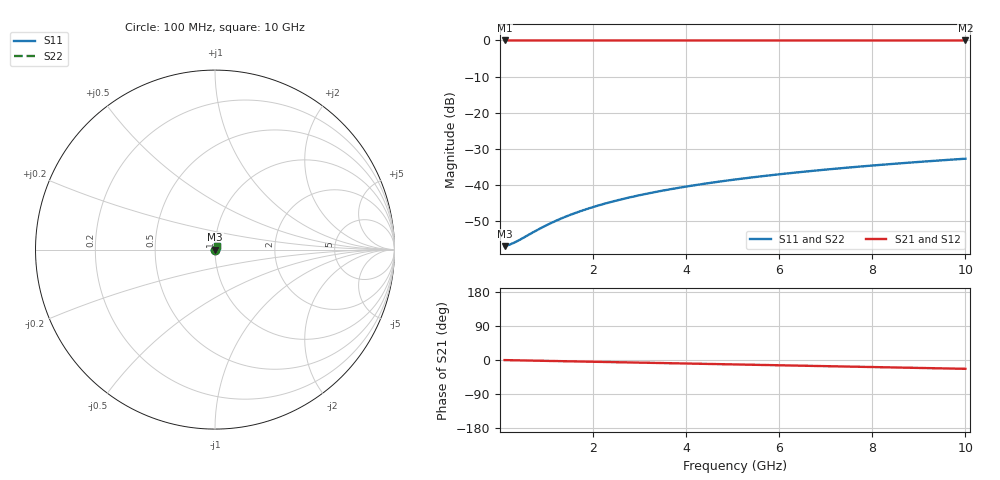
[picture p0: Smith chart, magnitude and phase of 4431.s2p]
# Hz S RI R 50.00
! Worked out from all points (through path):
!   100 points, 100 MHz to 10 GHz, reference 50 ohm
!   highest |S21| = -0.01 dB at 100 MHz (marker M1); lowest = 0.0 dB at 10 GHz (marker M2)
!   group delay of S21, straight-line fit = 6.46 ps
!   lowest |S11| = -57.0 dB at 100 MHz (marker M3), VSWR 1.00, Z = 50.1 + j0.0231 ohm
!   |S11| at or under -10 dB: start of sweep to end of sweep
!   |S22| runs from -57.0 to -32.8 dB; largest |S21 - S12| = 0
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1e8  0.00139 0.000231  0.9986 -0.00402  0.9986 -0.00402  0.00139 0.000231
2e8  0.0014 0.000461  0.9986 -0.00805  0.9986 -0.00805  0.0014 0.000461
3e8  0.00141 0.000692  0.9985 -0.0121  0.9985 -0.0121  0.00141 0.000692
4e8  0.00142 0.000922  0.9984 -0.0161  0.9984 -0.0161  0.00142 0.000922
7e8  0.00146 0.00161  0.9982 -0.0282  0.9982 -0.0282  0.00146 0.00161
9e8  0.0015 0.00207  0.9979 -0.0362  0.9979 -0.0362  0.0015 0.00207
1.2e9  0.00156 0.00276  0.9974 -0.0483  0.9974 -0.0483  0.00156 0.00276
1.5e9  0.00164 0.00344  0.9967 -0.0603  0.9967 -0.0603  0.00164 0.00344
1.8e9  0.00173 0.00412  0.9959 -0.0724  0.9959 -0.0724  0.00173 0.00412
2.1e9  0.00184 0.0048  0.9949 -0.0845  0.9949 -0.0845  0.00184 0.0048
2.5e9  0.00201 0.0057  0.9934 -0.1005  0.9934 -0.1005  0.00201 0.0057
2.9e9  0.00221 0.00659  0.9916 -0.1166  0.9916 -0.1166  0.00221 0.00659
3.4e9  0.0025 0.00769  0.989 -0.1366  0.989 -0.1366  0.0025 0.00769
3.8e9  0.00277 0.00856  0.9867 -0.1526  0.9867 -0.1526  0.00277 0.00856
4.2e9  0.00306 0.00942  0.984 -0.1685  0.984 -0.1685  0.00306 0.00942
4.6e9  0.00338 0.0103  0.9812 -0.1845  0.9812 -0.1845  0.00338 0.0103
5.1e9  0.00382 0.0113  0.9772 -0.2043  0.9772 -0.2043  0.00382 0.0113
5.9e9  0.00461 0.013  0.97 -0.236  0.97 -0.236  0.00461 0.013
6.7e9  0.00551 0.0146  0.9617 -0.2674  0.9617 -0.2674  0.00551 0.0146
7.5e9  0.00652 0.0161  0.9524 -0.2986  0.9524 -0.2986  0.00652 0.0161
8.4e9  0.00778 0.0178  0.9407 -0.3334  0.9407 -0.3334  0.00778 0.0178
1e10  0.0103 0.0205  0.9167 -0.3943  0.9167 -0.3943  0.0103 0.0205
